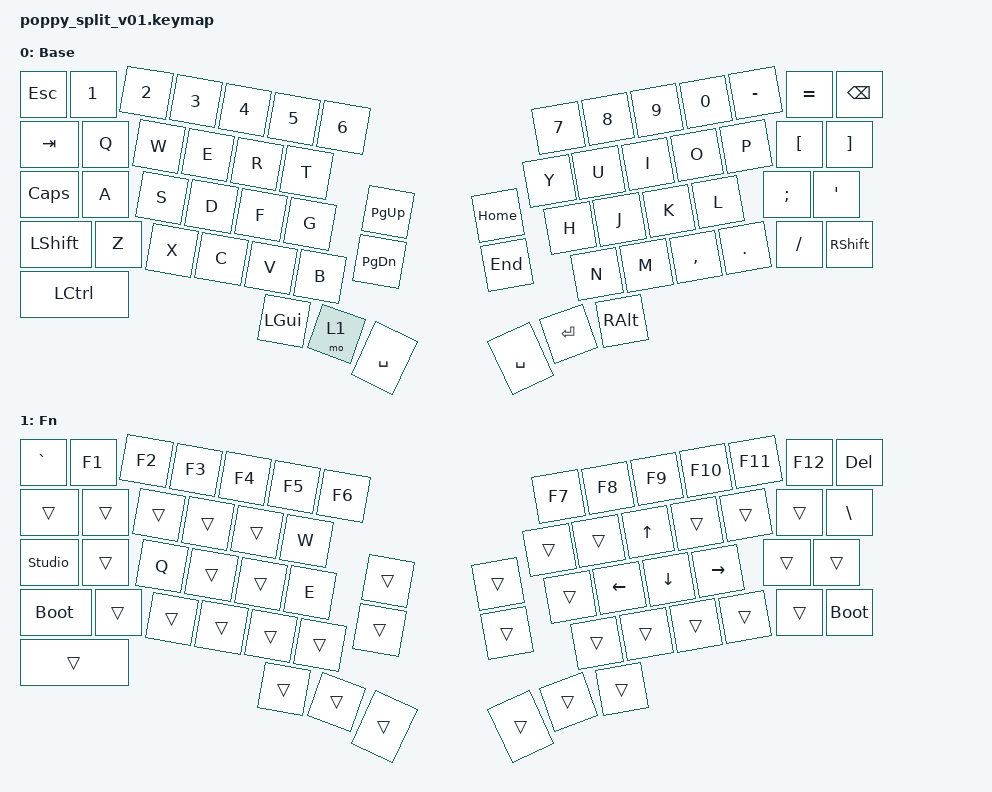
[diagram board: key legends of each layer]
// Default keymap for poppy_split_v01.
// Bindings follow the matrix transform order: each line is one matrix row,
// 7 (or fewer) left-half keys, then the right-half keys.
// Island keys: left = last key of rows 1-2, right = first key of rows 2-3.

#include <behaviors.dtsi>
#include <dt-bindings/zmk/keys.h>

/ {
    keymap {
        compatible = "zmk,keymap";

        // Base
        //  Esc     1          2      3      4      5      6                      7      8      9      0      -         =      ⌫
        //    ⇥       Q         W      E      R      T           PgUp           Y      U      I      O      P          [      ]
        //   Caps     A           S      D      F      G         PgDn   Home      H      J      K      L             ;      '
        //     ⇧        Z            X      C      V      B             End          N      M      ,      .            /      R⇧
        //      Ctrl                                 Gui        mo Fn       ␣      ␣      ⏎     RAlt
        default_layer {
            display-name = "Base";
            bindings = <
                &kp ESC    &kp N1    &kp N2  &kp N3     &kp N4     &kp N5   &kp N6     &kp N7    &kp N8  &kp N9     &kp N0   &kp MINUS  &kp EQUAL  &kp BSPC
                &kp TAB    &kp Q     &kp W   &kp E      &kp R      &kp T    &kp PG_UP  &kp Y     &kp U   &kp I      &kp O    &kp P      &kp LBKT   &kp RBKT
                &kp CAPS   &kp A     &kp S   &kp D      &kp F      &kp G    &kp PG_DN  &kp HOME  &kp H   &kp J      &kp K    &kp L      &kp SEMI   &kp SQT
                &kp LSHFT  &kp Z     &kp X   &kp C      &kp V      &kp B    &kp END    &kp N     &kp M   &kp COMMA  &kp DOT  &kp FSLH   &kp RSHFT
                &kp LCTRL  &kp LGUI  &mo 1   &kp SPACE  &kp SPACE  &kp RET  &kp RALT
            >;
        };

        // Fn
        //    `      F1          F2      F3      F4      F5      F6                         F7      F8      F9      F10     F11         F12     Del
        //     ▽        ▽           ▽       ▽       ▽       W             ▽                ▽       ▽       ↑       ▽       ▽           ▽       \
        //  studi…      ▽             Q       ▽       ▽       E           ▽       ▽          ▽       ←       ↓       →               ▽       ▽
        //   bootl…       ▽              ▽       ▽       ▽       ▽                ▽             ▽       ▽       ▽       ▽              ▽    bootl…
        //         ▽                                         ▽             ▽          ▽       ▽       ▽       ▽
        fn_layer {
            display-name = "Fn";
            bindings = <
                &kp GRAVE       &kp F1  &kp F2  &kp F3  &kp F4  &kp F5  &kp F6  &kp F7  &kp F8  &kp F9    &kp F10   &kp F11    &kp F12      &kp DEL
                &trans          &trans  &trans  &trans  &trans  &kp W   &trans  &trans  &trans  &kp UP    &trans    &trans     &trans       &kp BSLH
                &studio_unlock  &trans  &kp Q   &trans  &trans  &kp E   &trans  &trans  &trans  &kp LEFT  &kp DOWN  &kp RIGHT  &trans       &trans
                &bootloader     &trans  &trans  &trans  &trans  &trans  &trans  &trans  &trans  &trans    &trans    &trans     &bootloader
                &trans          &trans  &trans  &trans  &trans  &trans  &trans
            >;
        };
    };
};
